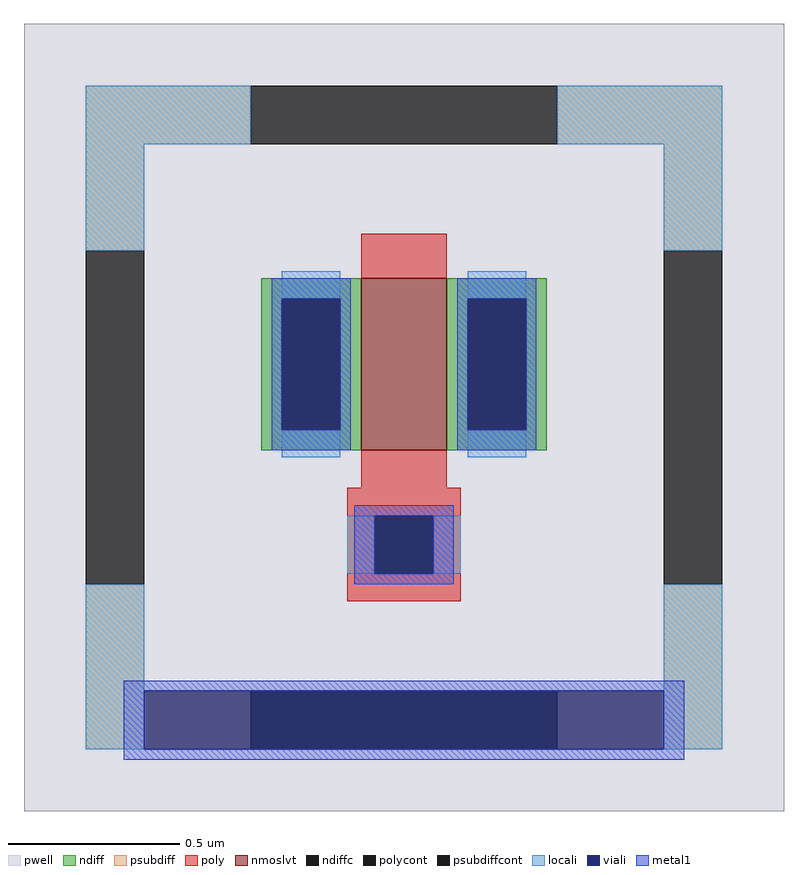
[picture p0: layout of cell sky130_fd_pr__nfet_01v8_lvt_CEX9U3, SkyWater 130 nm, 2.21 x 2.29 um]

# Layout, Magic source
magic
tech sky130A
magscale 1 2
<< pwell >>
rect -221 -229 221 229
<< nmoslvt >>
rect -25 -19 25 81
<< ndiff >>
rect -83 69 -25 81
rect -83 -7 -71 69
rect -37 -7 -25 69
rect -83 -19 -25 -7
rect 25 69 83 81
rect 25 -7 37 69
rect 71 -7 83 69
rect 25 -19 83 -7
<< ndiffc >>
rect -71 -7 -37 69
rect 37 -7 71 69
<< psubdiff >>
rect -185 159 -89 193
rect 89 159 185 193
rect -185 97 -151 159
rect 151 97 185 159
rect -185 -159 -151 -97
rect 151 -159 185 -97
rect -185 -193 -89 -159
rect 89 -193 185 -159
<< psubdiffcont >>
rect -89 159 89 193
rect -185 -97 -151 97
rect 151 -97 185 97
rect -89 -193 89 -159
<< poly >>
rect -25 81 25 107
rect -25 -41 25 -19
rect -33 -57 33 -41
rect -33 -91 -17 -57
rect 17 -91 33 -57
rect -33 -107 33 -91
<< polycont >>
rect -17 -91 17 -57
<< locali >>
rect -185 159 -89 193
rect 89 159 185 193
rect -185 97 -151 159
rect 151 97 185 159
rect -71 69 -37 85
rect -71 -23 -37 -7
rect 37 69 71 85
rect 37 -23 71 -7
rect -33 -91 -17 -57
rect 17 -91 33 -57
rect -185 -193 -151 -97
rect 151 -193 185 -97
<< viali >>
rect -71 -7 -37 69
rect 37 -7 71 69
rect -17 -91 17 -57
rect -151 -193 -89 -159
rect -89 -193 89 -159
rect 89 -193 151 -159
<< metal1 >>
rect -77 69 -31 81
rect -77 -7 -71 69
rect -37 -7 -31 69
rect -77 -19 -31 -7
rect 31 69 77 81
rect 31 -7 37 69
rect 71 -7 77 69
rect 31 -19 77 -7
rect -29 -57 29 -51
rect -29 -91 -17 -57
rect 17 -91 29 -57
rect -29 -97 29 -91
rect -163 -159 163 -153
rect -163 -193 -151 -159
rect 151 -193 163 -159
rect -163 -199 163 -193
<< properties >>
string FIXED_BBOX -168 -176 168 176
string gencell sky130_fd_pr__nfet_01v8_lvt
string library sky130
string parameters w 0.5 l 0.25 m 1 nf 1 diffcov 100 polycov 100 guard 1 glc 1 grc 1 gtc 1 gbc 1 tbcov 100 rlcov 100 topc 0 botc 1 poverlap 0 doverlap 1 lmin 0.15 wmin 0.42 compatible {sky130_fd_pr__nfet_01v8 sky130_fd_pr__nfet_01v8_lvt  sky130_fd_bs_flash__special_sonosfet_star  sky130_fd_pr__nfet_g5v0d10v5 sky130_fd_pr__nfet_05v0_nvt  sky130_fd_pr__nfet_03v3_nvt} full_metal 1 viasrc 100 viadrn 100 viagate 100 viagb 100 viagr 0 viagl 0 viagt 0
<< end >>
